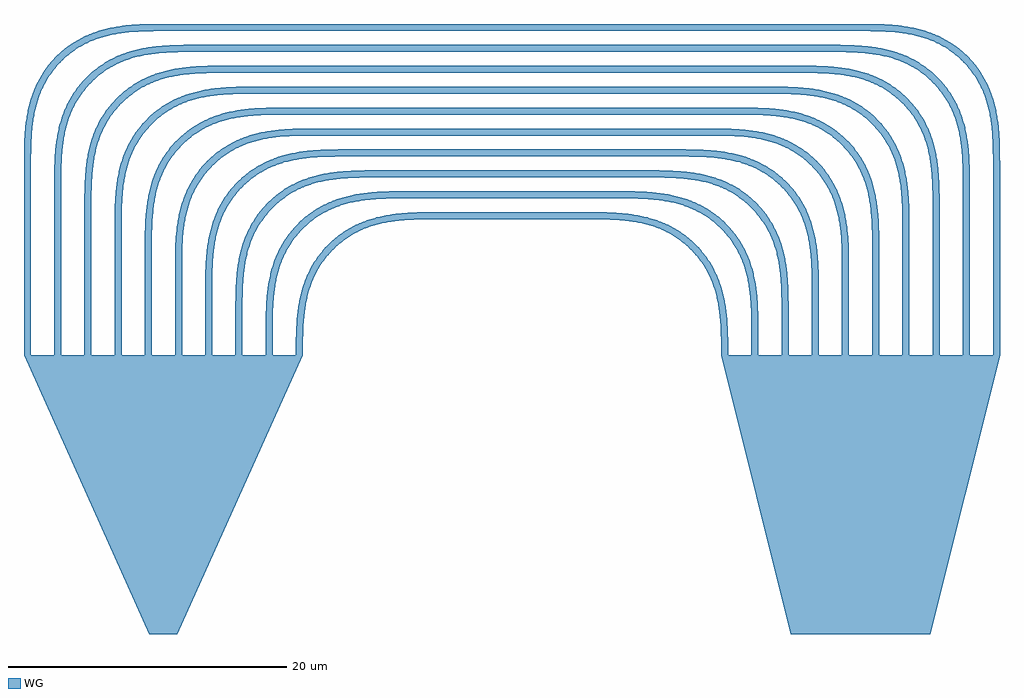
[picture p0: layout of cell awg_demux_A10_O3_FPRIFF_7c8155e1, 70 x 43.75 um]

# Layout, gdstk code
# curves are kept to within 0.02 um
from math import pi, radians
import gdstk
lib = gdstk.Library(unit=1e-6, precision=1e-09)
def R(c, l, rs):  # rectangles x0, y0, x1, y1
    for r in rs: c.add(gdstk.rectangle(r[:2], r[2:], *l))
def P(c, l, *ps):  # polygons
    for p in ps: c.add(gdstk.Polygon(p, *l))
WG = (200, 0)

free_propagation_region_ = lib.new_cell('free_propagation_region_17623e49')
P(free_propagation_region_, WG, [(20,-10),(0,-1),(0,1),(20,10)])

c_free_propagation_region_ = lib.new_cell('free_propagation_region_b76b91f7')
P(c_free_propagation_region_, WG, [(20,-10),(0,-5),(0,5),(20,10)])

bend_euler_r10_a90_p0p5_ = lib.new_cell('bend_euler_R10_A90_P0p5_f9fcb00b')
P(bend_euler_r10_a90_p0p5_, WG, [(0,-0.25),(0,0.25),(1.655,0.269),(2.881,0.353),(3.952,0.52),(4.99,0.806),(5.731,1.113),(6.431,1.505),(7.079,1.976),(7.575,2.425),(8.024,2.921),(8.495,3.569),(8.887,4.269),(9.194,5.01),(9.48,6.048),(9.647,7.119),(9.731,8.345),(9.75,10),(10.25,10),(10.235,8.468),(10.158,7.205),(10.023,6.224),(9.797,5.254),(9.457,4.312),(9.066,3.545),(8.5,2.715),(7.928,2.072),(7.285,1.5),(6.455,0.934),(5.688,0.543),(4.746,0.203),(3.776,-0.023),(2.795,-0.158),(1.532,-0.235)])

straight_l13p5_n2_csstri = lib.new_cell('straight_L13p5_N2_CSstrip')
R(straight_l13p5_n2_csstri, WG, [(0,-0.25,13.5,0.25)])

straight_l49p5_n2_csstri = lib.new_cell('straight_L49p5_N2_CSstrip')
R(straight_l49p5_n2_csstri, WG, [(0,-0.25,49.5,0.25)])

straight_l12_n2_csstrip = lib.new_cell('straight_L12_N2_CSstrip')
R(straight_l12_n2_csstrip, WG, [(0,-0.25,12,0.25)])

straight_l45p1660000000_ = lib.new_cell('straight_L45p1660000000_4d1de147')
R(straight_l45p1660000000_, WG, [(0,-0.25,45.166,0.25)])

straight_l10p5_n2_csstri = lib.new_cell('straight_L10p5_N2_CSstrip')
R(straight_l10p5_n2_csstri, WG, [(0,-0.25,10.5,0.25)])

straight_l40p834_n2_csst = lib.new_cell('straight_L40p834_N2_CSstrip')
R(straight_l40p834_n2_csst, WG, [(0,-0.25,40.834,0.25)])

straight_l9_n2_csstrip = lib.new_cell('straight_L9_N2_CSstrip')
R(straight_l9_n2_csstrip, WG, [(0,-0.25,9,0.25)])

straight_l36p5_n2_csstri = lib.new_cell('straight_L36p5_N2_CSstrip')
R(straight_l36p5_n2_csstri, WG, [(0,-0.25,36.5,0.25)])

straight_l7p5_n2_csstrip = lib.new_cell('straight_L7p5_N2_CSstrip')
R(straight_l7p5_n2_csstrip, WG, [(0,-0.25,7.5,0.25)])

straight_l32p1660000000_ = lib.new_cell('straight_L32p1660000000_643231bb')
R(straight_l32p1660000000_, WG, [(0,-0.25,32.166,0.25)])

straight_l6_n2_csstrip = lib.new_cell('straight_L6_N2_CSstrip')
R(straight_l6_n2_csstrip, WG, [(0,-0.25,6,0.25)])

straight_l27p834_n2_csst = lib.new_cell('straight_L27p834_N2_CSstrip')
R(straight_l27p834_n2_csst, WG, [(0,-0.25,27.834,0.25)])

straight_l4p5_n2_csstrip = lib.new_cell('straight_L4p5_N2_CSstrip')
R(straight_l4p5_n2_csstrip, WG, [(0,-0.25,4.5,0.25)])

straight_l23p5_n2_csstri = lib.new_cell('straight_L23p5_N2_CSstrip')
R(straight_l23p5_n2_csstri, WG, [(0,-0.25,23.5,0.25)])

straight_l3_n2_csstrip = lib.new_cell('straight_L3_N2_CSstrip')
R(straight_l3_n2_csstrip, WG, [(0,-0.25,3,0.25)])

straight_l19p166_n2_csst = lib.new_cell('straight_L19p166_N2_CSstrip')
R(straight_l19p166_n2_csst, WG, [(0,-0.25,19.166,0.25)])

straight_l1p5_n2_csstrip = lib.new_cell('straight_L1p5_N2_CSstrip')
R(straight_l1p5_n2_csstrip, WG, [(0,-0.25,1.5,0.25)])

straight_l14p834_n2_csst = lib.new_cell('straight_L14p834_N2_CSstrip')
R(straight_l14p834_n2_csst, WG, [(0,-0.25,14.834,0.25)])

awg_demux_a10_o3_fpriff_ = lib.new_cell('awg_demux_A10_O3_FPRIFF_7c8155e1')
awg_demux_a10_o3_fpriff_.add(gdstk.Reference(free_propagation_region_, (0,0), rotation=pi/2))
awg_demux_a10_o3_fpriff_.add(gdstk.Reference(c_free_propagation_region_, (50,0), rotation=pi/2))
awg_demux_a10_o3_fpriff_.add(gdstk.Reference(bend_euler_r10_a90_p0p5_, (49.75,43.5), x_reflection=True))
awg_demux_a10_o3_fpriff_.add(gdstk.Reference(straight_l13p5_n2_csstri, (59.75,33.5), rotation=3*pi/2))
awg_demux_a10_o3_fpriff_.add(gdstk.Reference(bend_euler_r10_a90_p0p5_, (-9.75,33.5), rotation=pi/2, x_reflection=True))
awg_demux_a10_o3_fpriff_.add(gdstk.Reference(straight_l49p5_n2_csstri, (0.25,43.5)))
awg_demux_a10_o3_fpriff_.add(gdstk.Reference(straight_l13p5_n2_csstri, (-9.75,33.5), rotation=3*pi/2))
awg_demux_a10_o3_fpriff_.add(gdstk.Reference(bend_euler_r10_a90_p0p5_, (47.583,42), x_reflection=True))
awg_demux_a10_o3_fpriff_.add(gdstk.Reference(straight_l12_n2_csstrip, (57.583,32), rotation=3*pi/2))
awg_demux_a10_o3_fpriff_.add(gdstk.Reference(bend_euler_r10_a90_p0p5_, (-7.583,32), rotation=pi/2, x_reflection=True))
awg_demux_a10_o3_fpriff_.add(gdstk.Reference(straight_l45p1660000000_, (2.417,42)))
awg_demux_a10_o3_fpriff_.add(gdstk.Reference(straight_l12_n2_csstrip, (-7.583,32), rotation=3*pi/2))
awg_demux_a10_o3_fpriff_.add(gdstk.Reference(bend_euler_r10_a90_p0p5_, (45.417,40.5), x_reflection=True))
awg_demux_a10_o3_fpriff_.add(gdstk.Reference(straight_l10p5_n2_csstri, (55.417,30.5), rotation=3*pi/2))
awg_demux_a10_o3_fpriff_.add(gdstk.Reference(bend_euler_r10_a90_p0p5_, (-5.417,30.5), rotation=pi/2, x_reflection=True))
awg_demux_a10_o3_fpriff_.add(gdstk.Reference(straight_l40p834_n2_csst, (4.583,40.5)))
awg_demux_a10_o3_fpriff_.add(gdstk.Reference(straight_l10p5_n2_csstri, (-5.417,30.5), rotation=3*pi/2))
awg_demux_a10_o3_fpriff_.add(gdstk.Reference(bend_euler_r10_a90_p0p5_, (43.25,39), x_reflection=True))
awg_demux_a10_o3_fpriff_.add(gdstk.Reference(straight_l9_n2_csstrip, (53.25,29), rotation=3*pi/2))
awg_demux_a10_o3_fpriff_.add(gdstk.Reference(bend_euler_r10_a90_p0p5_, (-3.25,29), rotation=pi/2, x_reflection=True))
awg_demux_a10_o3_fpriff_.add(gdstk.Reference(straight_l36p5_n2_csstri, (6.75,39)))
awg_demux_a10_o3_fpriff_.add(gdstk.Reference(straight_l9_n2_csstrip, (-3.25,29), rotation=3*pi/2))
awg_demux_a10_o3_fpriff_.add(gdstk.Reference(bend_euler_r10_a90_p0p5_, (41.083,37.5), x_reflection=True))
awg_demux_a10_o3_fpriff_.add(gdstk.Reference(straight_l7p5_n2_csstrip, (51.083,27.5), rotation=3*pi/2))
awg_demux_a10_o3_fpriff_.add(gdstk.Reference(bend_euler_r10_a90_p0p5_, (-1.083,27.5), rotation=pi/2, x_reflection=True))
awg_demux_a10_o3_fpriff_.add(gdstk.Reference(straight_l32p1660000000_, (8.917,37.5)))
awg_demux_a10_o3_fpriff_.add(gdstk.Reference(straight_l7p5_n2_csstrip, (-1.083,27.5), rotation=3*pi/2))
awg_demux_a10_o3_fpriff_.add(gdstk.Reference(bend_euler_r10_a90_p0p5_, (38.917,36), x_reflection=True))
awg_demux_a10_o3_fpriff_.add(gdstk.Reference(straight_l6_n2_csstrip, (48.917,26), rotation=3*pi/2))
awg_demux_a10_o3_fpriff_.add(gdstk.Reference(bend_euler_r10_a90_p0p5_, (1.083,26), rotation=pi/2, x_reflection=True))
awg_demux_a10_o3_fpriff_.add(gdstk.Reference(straight_l27p834_n2_csst, (11.083,36)))
awg_demux_a10_o3_fpriff_.add(gdstk.Reference(straight_l6_n2_csstrip, (1.083,26), rotation=3*pi/2))
awg_demux_a10_o3_fpriff_.add(gdstk.Reference(bend_euler_r10_a90_p0p5_, (36.75,34.5), x_reflection=True))
awg_demux_a10_o3_fpriff_.add(gdstk.Reference(straight_l4p5_n2_csstrip, (46.75,24.5), rotation=3*pi/2))
awg_demux_a10_o3_fpriff_.add(gdstk.Reference(bend_euler_r10_a90_p0p5_, (3.25,24.5), rotation=pi/2, x_reflection=True))
awg_demux_a10_o3_fpriff_.add(gdstk.Reference(straight_l23p5_n2_csstri, (13.25,34.5)))
awg_demux_a10_o3_fpriff_.add(gdstk.Reference(straight_l4p5_n2_csstrip, (3.25,24.5), rotation=3*pi/2))
awg_demux_a10_o3_fpriff_.add(gdstk.Reference(bend_euler_r10_a90_p0p5_, (34.583,33), x_reflection=True))
awg_demux_a10_o3_fpriff_.add(gdstk.Reference(straight_l3_n2_csstrip, (44.583,23), rotation=3*pi/2))
awg_demux_a10_o3_fpriff_.add(gdstk.Reference(bend_euler_r10_a90_p0p5_, (5.417,23), rotation=pi/2, x_reflection=True))
awg_demux_a10_o3_fpriff_.add(gdstk.Reference(straight_l19p166_n2_csst, (15.417,33)))
awg_demux_a10_o3_fpriff_.add(gdstk.Reference(straight_l3_n2_csstrip, (5.417,23), rotation=3*pi/2))
awg_demux_a10_o3_fpriff_.add(gdstk.Reference(bend_euler_r10_a90_p0p5_, (32.417,31.5), x_reflection=True))
awg_demux_a10_o3_fpriff_.add(gdstk.Reference(straight_l1p5_n2_csstrip, (42.417,21.5), rotation=3*pi/2))
awg_demux_a10_o3_fpriff_.add(gdstk.Reference(bend_euler_r10_a90_p0p5_, (7.583,21.5), rotation=pi/2, x_reflection=True))
awg_demux_a10_o3_fpriff_.add(gdstk.Reference(straight_l14p834_n2_csst, (17.583,31.5)))
awg_demux_a10_o3_fpriff_.add(gdstk.Reference(straight_l1p5_n2_csstrip, (7.583,21.5), rotation=3*pi/2))
awg_demux_a10_o3_fpriff_.add(gdstk.Reference(bend_euler_r10_a90_p0p5_, (30.25,30), x_reflection=True))
awg_demux_a10_o3_fpriff_.add(gdstk.Reference(bend_euler_r10_a90_p0p5_, (9.75,20), rotation=pi/2, x_reflection=True))
awg_demux_a10_o3_fpriff_.add(gdstk.Reference(straight_l10p5_n2_csstri, (19.75,30)))

lib.write_gds('awg_demux_A10_O3_FPRIFF_7c8155e1.gds')
